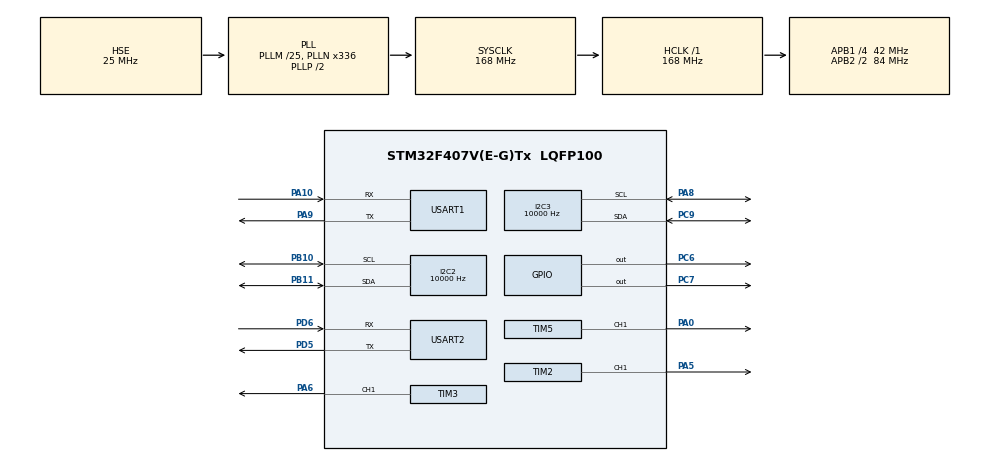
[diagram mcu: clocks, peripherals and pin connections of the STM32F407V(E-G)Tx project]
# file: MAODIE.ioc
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FREERTOS.Tasks01=defaultTask,0,128,StartDefaultTask,Default,NULL,Dynamic,NULL,NULL
FREERTOS.configENABLE_FPU=1
I2C2.ClockSpeed=10000
I2C3.ClockSpeed=10000
I2C3.I2C_Mode=I2C_Standard
Mcu.Family=STM32F4
Mcu.Name=STM32F407V(E-G)Tx
Mcu.Package=LQFP100
NVIC.PriorityGroup=NVIC_PRIORITYGROUP_4
NVIC.TIM4_IRQn=true\:5\:0\:true\:false\:true\:true\:true\:true\:true
PA0-WKUP.Signal=S_TIM5_CH1
PA10.Mode=Asynchronous
PA10.Signal=USART1_RX
PA13.Mode=Serial_Wire
PA13.Signal=SYS_JTMS-SWDIO
PA14.Mode=Serial_Wire
PA14.Signal=SYS_JTCK-SWCLK
PA5.Signal=S_TIM2_CH1_ETR
PA6.Signal=S_TIM3_CH1
PA8.Mode=I2C
PA8.Signal=I2C3_SCL
PA9.Mode=Asynchronous
PA9.Signal=USART1_TX
PB10.Mode=I2C
PB10.Signal=I2C2_SCL
PB11.Mode=I2C
PB11.Signal=I2C2_SDA
PC6.Signal=GPIO_Output
PC7.Signal=GPIO_Output
PC9.Mode=I2C
PC9.Signal=I2C3_SDA
PD5.Mode=Asynchronous
PD5.Signal=USART2_TX
PD6.Mode=Asynchronous
PD6.Signal=USART2_RX
PH0-OSC_IN.Mode=HSE-External-Oscillator
PH0-OSC_IN.Signal=RCC_OSC_IN
PH1-OSC_OUT.Mode=HSE-External-Oscillator
PH1-OSC_OUT.Signal=RCC_OSC_OUT
ProjectManager.HeapSize=0x2000
ProjectManager.StackSize=0x800
ProjectManager.TargetToolchain=MDK-ARM V5.32
RCC.48MHZClocksFreq_Value=84000000
RCC.AHBFreq_Value=168000000
RCC.APB1CLKDivider=RCC_HCLK_DIV4
RCC.APB1Freq_Value=42000000
RCC.APB1TimFreq_Value=84000000
RCC.APB2CLKDivider=RCC_HCLK_DIV2
RCC.APB2Freq_Value=84000000
RCC.APB2TimFreq_Value=168000000
RCC.CortexFreq_Value=168000000
RCC.HCLKFreq_Value=168000000
RCC.HSE_VALUE=25000000
RCC.HSI_VALUE=16000000
RCC.LSE_VALUE=32768
RCC.PLLM=25
RCC.PLLN=336
RCC.PLLSourceVirtual=RCC_PLLSOURCE_HSE
RCC.SYSCLKFreq_VALUE=168000000
RCC.SYSCLKSource=RCC_SYSCLKSOURCE_PLLCLK
RCC.VCOOutputFreq_Value=336000000
SH.S_TIM2_CH1_ETR.0=TIM2_CH1,PWM Generation1 CH1
SH.S_TIM3_CH1.0=TIM3_CH1,PWM Generation1 CH1
SH.S_TIM5_CH1.0=TIM5_CH1,PWM Generation1 CH1
TIM2.Channel-PWM\ Generation1\ CH1=TIM_CHANNEL_1
TIM2.OC1Preload_PWM=ENABLE
TIM2.Period=20000-1
TIM2.Prescaler=83
TIM3.Channel-PWM\ Generation1\ CH1=TIM_CHANNEL_1
TIM3.OC1Preload_PWM=ENABLE
TIM3.Period=20000-1
TIM3.Prescaler=83
TIM4.AutoReloadPreload=TIM_AUTORELOAD_PRELOAD_ENABLE
TIM4.Period=84-1
TIM4.Prescaler=1-1
TIM5.Channel-PWM\ Generation1\ CH1=TIM_CHANNEL_1
TIM5.Period=19999
TIM5.Prescaler=83
TIM6.Period=1000-1
TIM6.Prescaler=83
USART1.VirtualMode=VM_ASYNC
USART2.VirtualMode=VM_ASYNC
VP_FREERTOS_VS_CMSIS_V1.Mode=CMSIS_V1
VP_TIM2_VS_ClockSourceINT.Mode=Internal
VP_TIM3_VS_ClockSourceINT.Mode=Internal
VP_TIM4_VS_ClockSourceINT.Mode=Internal
VP_TIM5_VS_ClockSourceINT.Mode=Internal
VP_TIM6_VS_ClockSourceINT.Mode=Enable_Timer
board=custom

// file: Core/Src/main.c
/* USER CODE BEGIN Header */
/**
  ******************************************************************************
  * @file           : main.c
  * @brief          : Main program body
  ******************************************************************************
  * @attention
  *
  * Copyright (c) 2025 STMicroelectronics.
  * All rights reserved.
  *
  * This software is licensed under terms that can be found in the LICENSE file
  * in the root directory of this software component.
  * If no LICENSE file comes with this software, it is provided AS-IS.
  *
  ******************************************************************************
  */
/* USER CODE END Header */
#include "main.h"
#include "cmsis_os.h"
#include "i2c.h"
#include "tim.h"
#include "usart.h"
#include "gpio.h"

/* USER CODE BEGIN Includes */
#include "hardware_iic.h"
#include "Steering gear control.h"
#include "stdio.h"
#include "string.h"
#include "ZDTstepmotor.h"
#include "Motor.h"
#include "Commander.h"
#include "maintask.h"
/* USER CODE END Includes */

/* USER CODE BEGIN PTD */
// extern  int SiganActive;// 舵机是否处于活动状态，1为活动，0为不活动
// extern  int SiganDir;//舵机方向，1正0负
StepMotorZDT_t Motor1, Motor2, Motor3, Motor4; // 定义步进电机结构体

/* USER CODE END PTD */

void SystemClock_Config(void);
void MX_FREERTOS_Init(void);

int main(void)
{

  /* MCU Configuration--------------------------------------------------------*/

  /* Reset of all peripherals, Initializes the Flash interface and the Systick. */
  HAL_Init();

  /* Configure the system clock */
  SystemClock_Config();

  /* Initialize all configured peripherals */
  MX_GPIO_Init();
  MX_I2C3_Init();
  MX_USART2_UART_Init();
  MX_I2C2_Init();
  MX_TIM2_Init();
  MX_TIM3_Init();
  MX_TIM5_Init();
  MX_TIM4_Init();
  MX_TIM6_Init();
  MX_USART1_UART_Init();
  /* USER CODE BEGIN 2 */
  HAL_TIM_Base_Start_IT(&htim4); // 启动定时器4中断
  HAL_TIM_Base_Start_IT(&htim6); // 启动定时器6中断
  HAL_TIM_PWM_Start(&htim2, TIM_CHANNEL_1); // 启动PWM输出
  HAL_TIM_PWM_Start(&htim3, TIM_CHANNEL_1); // 启动PWM输出
  HAL_TIM_PWM_Start(&htim5, TIM_CHANNEL_1); // 启动PWM输出
  HAL_Delay(3000); // 延时3秒，等待系统稳定

  main_task_create();
  /* USER CODE END 2 */

  /* Call init function for freertos objects (in cmsis_os2.c) */
  MX_FREERTOS_Init();

  /* Start scheduler */
  osKernelStart();

  /* We should never get here as control is now taken by the scheduler */

  /* Infinite loop */
  while (1)
  {

  }
}

void SystemClock_Config(void)
{
  RCC_OscInitTypeDef RCC_OscInitStruct = {0};
  RCC_ClkInitTypeDef RCC_ClkInitStruct = {0};

  /** Configure the main internal regulator output voltage
  */
  __HAL_RCC_PWR_CLK_ENABLE();
  __HAL_PWR_VOLTAGESCALING_CONFIG(PWR_REGULATOR_VOLTAGE_SCALE1);

  /** Initializes the RCC Oscillators according to the specified parameters
  * in the RCC_OscInitTypeDef structure.
  */
  RCC_OscInitStruct.OscillatorType = RCC_OSCILLATORTYPE_HSE;
  RCC_OscInitStruct.HSEState = RCC_HSE_ON;
  RCC_OscInitStruct.PLL.PLLState = RCC_PLL_ON;
  RCC_OscInitStruct.PLL.PLLSource = RCC_PLLSOURCE_HSE;
  RCC_OscInitStruct.PLL.PLLM = 25;
  RCC_OscInitStruct.PLL.PLLN = 336;
  RCC_OscInitStruct.PLL.PLLP = RCC_PLLP_DIV2;
  RCC_OscInitStruct.PLL.PLLQ = 4;
  if (HAL_RCC_OscConfig(&RCC_OscInitStruct) != HAL_OK)
  {
    Error_Handler();
  }

  /** Initializes the CPU, AHB and APB buses clocks
  */
  RCC_ClkInitStruct.ClockType = RCC_CLOCKTYPE_HCLK|RCC_CLOCKTYPE_SYSCLK
                              |RCC_CLOCKTYPE_PCLK1|RCC_CLOCKTYPE_PCLK2;
  RCC_ClkInitStruct.SYSCLKSource = RCC_SYSCLKSOURCE_PLLCLK;
  RCC_ClkInitStruct.AHBCLKDivider = RCC_SYSCLK_DIV1;
  RCC_ClkInitStruct.APB1CLKDivider = RCC_HCLK_DIV4;
  RCC_ClkInitStruct.APB2CLKDivider = RCC_HCLK_DIV2;

  if (HAL_RCC_ClockConfig(&RCC_ClkInitStruct, FLASH_LATENCY_5) != HAL_OK)
  {
    Error_Handler();
  }
}

void Error_Handler(void)
{
  __disable_irq();
  while (1)
  {
  }
}
